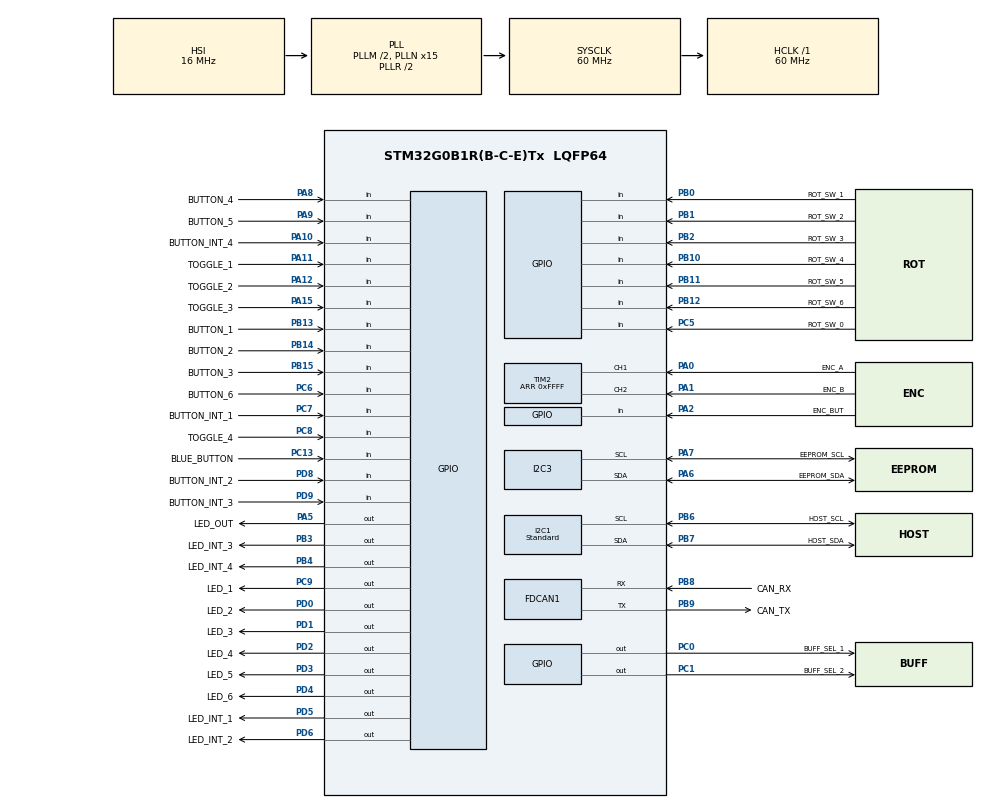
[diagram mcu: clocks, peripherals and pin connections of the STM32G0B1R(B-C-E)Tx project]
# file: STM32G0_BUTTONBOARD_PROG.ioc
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FDCAN1.AutoRetransmission=DISABLE
FDCAN1.CalculateBaudRateNominal=499999
FDCAN1.CalculateTimeBitNominal=2000
FDCAN1.CalculateTimeQuantumNominal=133.33333333333334
FDCAN1.NominalPrescaler=8
FDCAN1.NominalSyncJumpWidth=1
FDCAN1.NominalTimeSeg1=10
FDCAN1.NominalTimeSeg2=4
FDCAN1.StdFiltersNbr=1
I2C1.I2C_Speed_Mode=I2C_Standard
I2C1.OwnAddress=81
I2C1.Timing=0x10A077A8
I2C3.Timing=0x10A077A8
Mcu.Family=STM32G0
Mcu.Name=STM32G0B1R(B-C-E)Tx
Mcu.Package=LQFP64
NVIC.I2C1_IRQn=true\:1\:0\:false\:false\:true\:true\:true\:true
NVIC.TIM16_FDCAN_IT0_IRQn=true\:0\:0\:false\:false\:true\:true\:true\:true
PA0.GPIO_Label=ENC_A
PA0.Signal=S_TIM2_CH1_ETR
PA1.GPIO_Label=ENC_B
PA1.Signal=S_TIM2_CH2
PA10.GPIO_Label=BUTTON_INT_4
PA10.Signal=GPIO_Input
PA11\ [PA9].GPIO_Label=TOGGLE_1
PA11\ [PA9].Signal=GPIO_Input
PA12\ [PA10].GPIO_Label=TOGGLE_2
PA12\ [PA10].Signal=GPIO_Input
PA13.Signal=SYS_SWDIO
PA14-BOOT0.Signal=SYS_SWCLK
PA15.GPIO_Label=TOGGLE_3
PA15.Signal=GPIO_Input
PA2.GPIO_Label=ENC_BUT
PA2.Signal=GPIO_Input
PA5.GPIO_Label=LED_OUT
PA5.GPIO_PuPd=GPIO_NOPULL
PA5.Signal=GPIO_Output
PA6.GPIO_Label=EEPROM_SDA
PA6.GPIO_Pu=GPIO_PULLUP
PA6.Mode=I2C
PA6.Signal=I2C3_SDA
PA7.GPIO_Label=EEPROM_SCL
PA7.GPIO_Pu=GPIO_PULLUP
PA7.Mode=I2C
PA7.Signal=I2C3_SCL
PA8.GPIO_Label=BUTTON_4
PA8.Signal=GPIO_Input
PA9.GPIO_Label=BUTTON_5
PA9.Signal=GPIO_Input
PB0.GPIO_Label=ROT_SW_1
PB0.Signal=GPIO_Input
PB1.GPIO_Label=ROT_SW_2
PB1.Signal=GPIO_Input
PB10.GPIO_Label=ROT_SW_4
PB10.Signal=GPIO_Input
PB11.GPIO_Label=ROT_SW_5
PB11.Signal=GPIO_Input
PB12.GPIO_Label=ROT_SW_6
PB12.Signal=GPIO_Input
PB13.GPIO_Label=BUTTON_1
PB13.Signal=GPIO_Input
PB14.GPIO_Label=BUTTON_2
PB14.Signal=GPIO_Input
PB15.GPIO_Label=BUTTON_3
PB15.Signal=GPIO_Input
PB2.GPIO_Label=ROT_SW_3
PB2.Signal=GPIO_Input
PB3.GPIO_Label=LED_INT_3
PB3.Signal=GPIO_Output
PB4.GPIO_Label=LED_INT_4
PB4.Signal=GPIO_Output
PB6.GPIO_Label=HOST_SCL
PB6.GPIO_Pu=GPIO_PULLUP
PB6.Mode=I2C
PB6.Signal=I2C1_SCL
PB7.GPIO_Label=HOST_SDA
PB7.GPIO_Pu=GPIO_PULLUP
PB7.Mode=I2C
PB7.Signal=I2C1_SDA
PB8.GPIO_Label=CAN_RX
PB8.GPIO_PuPd=GPIO_PULLUP
PB8.Mode=FDCAN_Activate
PB8.Signal=FDCAN1_RX
PB9.GPIO_Label=CAN_TX
PB9.Mode=FDCAN_Activate
PB9.Signal=FDCAN1_TX
PC0.GPIO_Label=BUFF_SEL_1
PC0.Signal=GPIO_Output
PC1.GPIO_Label=BUFF_SEL_2
PC1.Signal=GPIO_Output
PC13.GPIO_Label=BLUE_BUTTON
PC13.Signal=GPIO_Input
PC5.GPIO_Label=ROT_SW_0
PC5.Signal=GPIO_Input
PC6.GPIO_Label=BUTTON_6
PC6.Signal=GPIO_Input
PC7.GPIO_Label=BUTTON_INT_1
PC7.Signal=GPIO_Input
PC8.GPIO_Label=TOGGLE_4
PC8.Signal=GPIO_Input
PC9.GPIO_Label=LED_1
PC9.Signal=GPIO_Output
PD0.GPIO_Label=LED_2
PD0.Signal=GPIO_Output
PD1.GPIO_Label=LED_3
PD1.Signal=GPIO_Output
PD2.GPIO_Label=LED_4
PD2.Signal=GPIO_Output
PD3.GPIO_Label=LED_5
PD3.Signal=GPIO_Output
PD4.GPIO_Label=LED_6
PD4.Signal=GPIO_Output
PD5.GPIO_Label=LED_INT_1
PD5.Signal=GPIO_Output
PD6.GPIO_Label=LED_INT_2
PD6.Signal=GPIO_Output
PD8.GPIO_Label=BUTTON_INT_2
PD8.Signal=GPIO_Input
PD9.GPIO_Label=BUTTON_INT_3
PD9.Signal=GPIO_Input
PF0-OSC_IN\ (PF0).Mode=HSE-External-Oscillator
PF0-OSC_IN\ (PF0).Signal=RCC_OSC_IN
PF1-OSC_OUT\ (PF1).Mode=HSE-External-Oscillator
PF1-OSC_OUT\ (PF1).Signal=RCC_OSC_OUT
ProjectManager.HeapSize=0x200
ProjectManager.StackSize=0x400
ProjectManager.TargetToolchain=STM32CubeIDE
RCC.ADCFreq_Value=60000000
RCC.AHBFreq_Value=60000000
RCC.CortexFreq_Value=60000000
RCC.EXTERNAL_CLOCK_VALUE=48000
RCC.HCLKFreq_Value=60000000
RCC.HSE_VALUE=8000000
RCC.HSI48_VALUE=48000000
RCC.HSI_VALUE=16000000
RCC.LSE_VALUE=32768
RCC.PLLM=RCC_PLLM_DIV1
RCC.PLLN=15
RCC.PLLSourceVirtual=RCC_PLLSOURCE_HSE
RCC.SYSCLKFreq_VALUE=60000000
RCC.SYSCLKSource=RCC_SYSCLKSOURCE_PLLCLK
RCC.USBFreq_Value=48000000
RCC.VCOOutputFreq_Value=120000000
SH.S_TIM2_CH1_ETR.0=TIM2_CH1,Encoder_Interface
SH.S_TIM2_CH2.0=TIM2_CH2,Encoder_Interface
TIM2.EncoderMode=TIM_ENCODERMODE_TI12
TIM2.IC1Filter=15
TIM2.IC2Filter=15
TIM2.Period=0xFFFF
VP_SYS_VS_DBSignals.Mode=DisableDeadBatterySignals
board=custom

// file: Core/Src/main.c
/* USER CODE BEGIN Header */
/**
  ******************************************************************************
  * @file    main.c
  * @brief   Application entry point - fabricaAI calibration knob / button
  *          board V5.5, STM32G0B1RET6.
  *
  * This image is the OpenBLT *user program*. It is linked to start at
  * 0x08003000, 12 KB above the bottom of flash, because the bootloader owns
  * sectors 0-5. Nothing here may be flashed to 0x08000000.
  *
  * CubeMX-managed file: everything outside the USER CODE fences is generated
  * from STM32G0_BUTTONBOARD_PROG.ioc and will be rewritten by Generate Code.
  * Everything hand-written lives inside a fence. See the project CLAUDE.md.
  ******************************************************************************
  */
/* USER CODE END Header */
#include "main.h"

/* USER CODE BEGIN Includes */
#include "applogic.h"
#include "can_operation.h"
#include "inputs.h"
#include "leds.h"
#include "i2c_host.h"
#include "i2c_host_proto.h"
/* USER CODE END Includes */

FDCAN_HandleTypeDef hfdcan1;

I2C_HandleTypeDef hi2c1;
I2C_HandleTypeDef hi2c3;

TIM_HandleTypeDef htim2;

/* USER CODE BEGIN PV */
static AppStateMachine sm;
/* USER CODE END PV */

void SystemClock_Config(void);
static void MX_GPIO_Init(void);
static void MX_FDCAN1_Init(void);
static void MX_I2C1_Init(void);
static void MX_TIM2_Init(void);
static void MX_I2C3_Init(void);
/* USER CODE BEGIN PFP */
static void VectorBase_Config(void);
/* USER CODE END PFP */

/* USER CODE BEGIN 0 */
/**
  * @brief Point the vector table at this image.
  *
  * The bootloader has already run and its own vector table sits at
  * 0x08000000. Every interrupt taken after this line - SysTick, FDCAN, I2C1 -
  * must dispatch through the application's table at 0x08003000 instead, so
  * this has to happen before HAL_Init() enables the tick. Hence it lives in
  * USER CODE 1, the fence CubeMX places ahead of HAL_Init().
  */
static void VectorBase_Config(void)
{
    extern const unsigned long g_pfnVectors[];
    SCB->VTOR = (unsigned long)&g_pfnVectors[0];
}
/* USER CODE END 0 */

int main(void)
{

  /* USER CODE BEGIN 1 */
  VectorBase_Config();
  /* USER CODE END 1 */

  /* MCU Configuration--------------------------------------------------------*/

  /* Reset of all peripherals, Initializes the Flash interface and the Systick. */
  HAL_Init();

  /* Configure the system clock */
  SystemClock_Config();

  /* Initialize all configured peripherals */
  MX_GPIO_Init();
  MX_FDCAN1_Init();
  MX_I2C1_Init();
  MX_TIM2_Init();
  MX_I2C3_Init();
  /* USER CODE BEGIN 2 */
  /* Slave listen for the V5.2-compatible host port on I2C1. Needs only
   * hi2c1 initialised (MX_I2C1_Init above); ordering after the other
   * MX_*_Init calls is deliberate - nothing here depends on it. */
  I2CHost_Init();

  /* CAN is the one peripheral whose failure is fatal: with it dead the board
   * cannot report anything, so the state machine goes straight to STATE_ERROR
   * (fast heartbeat + reset-retry) instead of running silent. */
  const bool can_ok = CAN_Init();
  AppLogic_Init(&sm, can_ok);
  /* USER CODE END 2 */

  /* Infinite loop */
  while (1)
  {

    /* USER CODE BEGIN 3 */
    /* Green heartbeat on PA5 - the fastest way to tell "the application is
     * running" from "the bootloader is waiting" at a glance. 500 ms when
     * healthy; 100 ms in STATE_ERROR (CAN failed to start), because a board
     * that cannot talk on the bus has no other way to say so. */
    {
      static uint32_t led_last_tick = 0U;
      const uint32_t now = HAL_GetTick();
      const uint32_t period = (sm.state == STATE_ERROR) ? 100U : 500U;
      if ((now - led_last_tick) >= period) {
        led_last_tick = now;
        HAL_GPIO_TogglePin(LED_OUT_GPIO_Port, LED_OUT_Pin);
      }
    }

    AppLogic_Run(&sm);
  }
  /* USER CODE END 3 */
}

void SystemClock_Config(void)
{
  RCC_OscInitTypeDef RCC_OscInitStruct = {0};
  RCC_ClkInitTypeDef RCC_ClkInitStruct = {0};

  /** Configure the main internal regulator output voltage
  */
  HAL_PWREx_ControlVoltageScaling(PWR_REGULATOR_VOLTAGE_SCALE1);

  /** Initializes the RCC Oscillators according to the specified parameters
  * in the RCC_OscInitTypeDef structure.
  */
  /* Bench only (UNCOMMITTED, re-apply after any regen): this Nucleo has no
   * HSE source, so feed the identical PLL chain from HSI16/2 = the same 8 MHz
   * reference the V5.5 crystal provides. SYSCLK/PCLK1/CAN timing unchanged.
   * The generated (committed) code below this comment is HSE. */
  RCC_OscInitStruct.OscillatorType = RCC_OSCILLATORTYPE_HSI;
  RCC_OscInitStruct.HSIState = RCC_HSI_ON;
  RCC_OscInitStruct.HSICalibrationValue = RCC_HSICALIBRATION_DEFAULT;
  RCC_OscInitStruct.PLL.PLLState = RCC_PLL_ON;
  RCC_OscInitStruct.PLL.PLLSource = RCC_PLLSOURCE_HSI;
  RCC_OscInitStruct.PLL.PLLM = RCC_PLLM_DIV2;
  RCC_OscInitStruct.PLL.PLLN = 15;
  RCC_OscInitStruct.PLL.PLLP = RCC_PLLP_DIV2;
  RCC_OscInitStruct.PLL.PLLQ = RCC_PLLQ_DIV2;
  RCC_OscInitStruct.PLL.PLLR = RCC_PLLR_DIV2;
  if (HAL_RCC_OscConfig(&RCC_OscInitStruct) != HAL_OK)
  {
    Error_Handler();
  }

  /** Initializes the CPU, AHB and APB buses clocks
  */
  RCC_ClkInitStruct.ClockType = RCC_CLOCKTYPE_HCLK|RCC_CLOCKTYPE_SYSCLK
                              |RCC_CLOCKTYPE_PCLK1;
  RCC_ClkInitStruct.SYSCLKSource = RCC_SYSCLKSOURCE_PLLCLK;
  RCC_ClkInitStruct.AHBCLKDivider = RCC_SYSCLK_DIV1;
  RCC_ClkInitStruct.APB1CLKDivider = RCC_HCLK_DIV1;

  if (HAL_RCC_ClockConfig(&RCC_ClkInitStruct, FLASH_LATENCY_2) != HAL_OK)
  {
    Error_Handler();
  }
}

static void MX_FDCAN1_Init(void)
{

  /* USER CODE BEGIN FDCAN1_Init 0 */
  /* Classic CAN, 500 kbit/s nominal. Kernel clock = PCLK1 = 60 MHz.
   * Prescaler 8 -> 7.5 MHz tq; 1 + 10 + 4 = 15 tq/bit -> 500 kbit/s, sample
   * point 11/15 = 73.3 %, inside the 75 % target in Docs/CAN_Bus.md.
   * AutoRetransmission DISABLE matches the other Fabrica boards: periodic
   * telemetry is better replaced by the next sample than retried stale.
   * StdFiltersNbr = 1: CAN_Init() installs one range filter; declaring the
   * slot here is what makes the message-RAM allocation include it. All of
   * that is driven from the .ioc - this comment records WHY. */
  /* USER CODE END FDCAN1_Init 0 */

  hfdcan1.Instance = FDCAN1;
  hfdcan1.Init.ClockDivider = FDCAN_CLOCK_DIV1;
  hfdcan1.Init.FrameFormat = FDCAN_FRAME_CLASSIC;
  hfdcan1.Init.Mode = FDCAN_MODE_NORMAL;
  hfdcan1.Init.AutoRetransmission = DISABLE;
  hfdcan1.Init.TransmitPause = DISABLE;
  hfdcan1.Init.ProtocolException = DISABLE;
  hfdcan1.Init.NominalPrescaler = 8;
  hfdcan1.Init.NominalSyncJumpWidth = 1;
  hfdcan1.Init.NominalTimeSeg1 = 10;
  hfdcan1.Init.NominalTimeSeg2 = 4;
  hfdcan1.Init.DataPrescaler = 1;
  hfdcan1.Init.DataSyncJumpWidth = 1;
  hfdcan1.Init.DataTimeSeg1 = 1;
  hfdcan1.Init.DataTimeSeg2 = 1;
  hfdcan1.Init.StdFiltersNbr = 1;
  hfdcan1.Init.ExtFiltersNbr = 0;
  hfdcan1.Init.TxFifoQueueMode = FDCAN_TX_FIFO_OPERATION;
  if (HAL_FDCAN_Init(&hfdcan1) != HAL_OK)
  {
    Error_Handler();
  }

}

static void MX_I2C1_Init(void)
{

  /* USER CODE BEGIN I2C1_Init 0 */
  /* I2C1 = the HOST PORT (connector P1): the STM32 is a pure SLAVE at 7-bit
   * 0x51 speaking the V5.2 ATtiny protocol (i2c_host.c). OwnAddress1 = 0xA2
   * (= 0x51 << 1) is generated from I2C1.OwnAddress in the .ioc - keep it
   * there, not here. 0x00B01E60 is fast-mode-class timing; in pure-slave mode
   * only SDADEL/SCLDEL matter, the master drives SCL. */
  /* USER CODE END I2C1_Init 0 */

  hi2c1.Instance = I2C1;
  hi2c1.Init.Timing = 0x10A077A8;
  hi2c1.Init.OwnAddress1 = 162;
  hi2c1.Init.AddressingMode = I2C_ADDRESSINGMODE_7BIT;
  hi2c1.Init.DualAddressMode = I2C_DUALADDRESS_DISABLE;
  hi2c1.Init.OwnAddress2 = 0;
  hi2c1.Init.OwnAddress2Masks = I2C_OA2_NOMASK;
  hi2c1.Init.GeneralCallMode = I2C_GENERALCALL_DISABLE;
  hi2c1.Init.NoStretchMode = I2C_NOSTRETCH_DISABLE;
  if (HAL_I2C_Init(&hi2c1) != HAL_OK)
  {
    Error_Handler();
  }

  /** Configure Analogue filter
  */
  if (HAL_I2CEx_ConfigAnalogFilter(&hi2c1, I2C_ANALOGFILTER_ENABLE) != HAL_OK)
  {
    Error_Handler();
  }

  /** Configure Digital filter
  */
  if (HAL_I2CEx_ConfigDigitalFilter(&hi2c1, 0) != HAL_OK)
  {
    Error_Handler();
  }

}

static void MX_I2C3_Init(void)
{

  /* USER CODE BEGIN I2C3_Init 0 */
  /* I2C3 = the AT24C256 config EEPROM (PA6/PA7, AF9 - see MSP), STM32 is
   * the only master, standard-mode 100 kHz from the 60 MHz PCLK1. */
  /* USER CODE END I2C3_Init 0 */

  hi2c3.Instance = I2C3;
  hi2c3.Init.Timing = 0x10A077A8;
  hi2c3.Init.OwnAddress1 = 0;
  hi2c3.Init.AddressingMode = I2C_ADDRESSINGMODE_7BIT;
  hi2c3.Init.DualAddressMode = I2C_DUALADDRESS_DISABLE;
  hi2c3.Init.OwnAddress2 = 0;
  hi2c3.Init.OwnAddress2Masks = I2C_OA2_NOMASK;
  hi2c3.Init.GeneralCallMode = I2C_GENERALCALL_DISABLE;
  hi2c3.Init.NoStretchMode = I2C_NOSTRETCH_DISABLE;
  if (HAL_I2C_Init(&hi2c3) != HAL_OK)
  {
    Error_Handler();
  }

  /** Configure Analogue filter
  */
  if (HAL_I2CEx_ConfigAnalogFilter(&hi2c3, I2C_ANALOGFILTER_ENABLE) != HAL_OK)
  {
    Error_Handler();
  }

  /** Configure Digital filter
  */
  if (HAL_I2CEx_ConfigDigitalFilter(&hi2c3, 0) != HAL_OK)
  {
    Error_Handler();
  }

}

static void MX_TIM2_Init(void)
{

  TIM_Encoder_InitTypeDef sConfig = {0};
  TIM_MasterConfigTypeDef sMasterConfig = {0};

  htim2.Instance = TIM2;
  htim2.Init.Prescaler = 0;
  htim2.Init.CounterMode = TIM_COUNTERMODE_UP;
  htim2.Init.Period = 0xFFFF;
  htim2.Init.ClockDivision = TIM_CLOCKDIVISION_DIV1;
  htim2.Init.AutoReloadPreload = TIM_AUTORELOAD_PRELOAD_DISABLE;
  sConfig.EncoderMode = TIM_ENCODERMODE_TI12;
  sConfig.IC1Polarity = TIM_ICPOLARITY_RISING;
  sConfig.IC1Selection = TIM_ICSELECTION_DIRECTTI;
  sConfig.IC1Prescaler = TIM_ICPSC_DIV1;
  sConfig.IC1Filter = 15;
  sConfig.IC2Polarity = TIM_ICPOLARITY_RISING;
  sConfig.IC2Selection = TIM_ICSELECTION_DIRECTTI;
  sConfig.IC2Prescaler = TIM_ICPSC_DIV1;
  sConfig.IC2Filter = 15;
  if (HAL_TIM_Encoder_Init(&htim2, &sConfig) != HAL_OK)
  {
    Error_Handler();
  }
  sMasterConfig.MasterOutputTrigger = TIM_TRGO_RESET;
  sMasterConfig.MasterSlaveMode = TIM_MASTERSLAVEMODE_DISABLE;
  if (HAL_TIMEx_MasterConfigSynchronization(&htim2, &sMasterConfig) != HAL_OK)
  {
    Error_Handler();
  }

}

static void MX_GPIO_Init(void)
{
  GPIO_InitTypeDef GPIO_InitStruct = {0};

  /* GPIO Ports Clock Enable */
  __HAL_RCC_GPIOC_CLK_ENABLE();
  __HAL_RCC_GPIOF_CLK_ENABLE();
  __HAL_RCC_GPIOA_CLK_ENABLE();
  __HAL_RCC_GPIOB_CLK_ENABLE();
  __HAL_RCC_GPIOD_CLK_ENABLE();

  /*Configure GPIO pin Output Level */
  HAL_GPIO_WritePin(GPIOC, BUFF_SEL_1_Pin|BUFF_SEL_2_Pin|LED_1_Pin, GPIO_PIN_RESET);

  /*Configure GPIO pin Output Level */
  HAL_GPIO_WritePin(LED_OUT_GPIO_Port, LED_OUT_Pin, GPIO_PIN_RESET);

  /*Configure GPIO pin Output Level */
  HAL_GPIO_WritePin(GPIOD, LED_2_Pin|LED_3_Pin|LED_4_Pin|LED_5_Pin
                          |LED_6_Pin|LED_INT_1_Pin|LED_INT_2_Pin, GPIO_PIN_RESET);

  /*Configure GPIO pin Output Level */
  HAL_GPIO_WritePin(GPIOB, LED_INT_3_Pin|LED_INT_4_Pin, GPIO_PIN_RESET);

  /*Configure GPIO pins : BLUE_BUTTON_Pin ROT_SW_0_Pin BUTTON_6_Pin BUTTON_INT_1_Pin
                           TOGGLE_4_Pin */
  GPIO_InitStruct.Pin = BLUE_BUTTON_Pin|ROT_SW_0_Pin|BUTTON_6_Pin|BUTTON_INT_1_Pin
                          |TOGGLE_4_Pin;
  GPIO_InitStruct.Mode = GPIO_MODE_INPUT;
  GPIO_InitStruct.Pull = GPIO_NOPULL;
  HAL_GPIO_Init(GPIOC, &GPIO_InitStruct);

  /*Configure GPIO pins : BUFF_SEL_1_Pin BUFF_SEL_2_Pin LED_1_Pin */
  GPIO_InitStruct.Pin = BUFF_SEL_1_Pin|BUFF_SEL_2_Pin|LED_1_Pin;
  GPIO_InitStruct.Mode = GPIO_MODE_OUTPUT_PP;
  GPIO_InitStruct.Pull = GPIO_NOPULL;
  GPIO_InitStruct.Speed = GPIO_SPEED_FREQ_LOW;
  HAL_GPIO_Init(GPIOC, &GPIO_InitStruct);

  /*Configure GPIO pins : ENC_BUT_Pin BUTTON_4_Pin BUTTON_5_Pin BUTTON_INT_4_Pin
                           TOGGLE_1_Pin TOGGLE_2_Pin TOGGLE_3_Pin */
  GPIO_InitStruct.Pin = ENC_BUT_Pin|BUTTON_4_Pin|BUTTON_5_Pin|BUTTON_INT_4_Pin
                          |TOGGLE_1_Pin|TOGGLE_2_Pin|TOGGLE_3_Pin;
  GPIO_InitStruct.Mode = GPIO_MODE_INPUT;
  GPIO_InitStruct.Pull = GPIO_NOPULL;
  HAL_GPIO_Init(GPIOA, &GPIO_InitStruct);

  /*Configure GPIO pin : LED_OUT_Pin */
  GPIO_InitStruct.Pin = LED_OUT_Pin;
  GPIO_InitStruct.Mode = GPIO_MODE_OUTPUT_PP;
  GPIO_InitStruct.Pull = GPIO_NOPULL;
  GPIO_InitStruct.Speed = GPIO_SPEED_FREQ_LOW;
  HAL_GPIO_Init(LED_OUT_GPIO_Port, &GPIO_InitStruct);

  /*Configure GPIO pins : ROT_SW_1_Pin ROT_SW_2_Pin ROT_SW_3_Pin ROT_SW_4_Pin
                           ROT_SW_5_Pin ROT_SW_6_Pin BUTTON_1_Pin BUTTON_2_Pin
                           BUTTON_3_Pin */
  GPIO_InitStruct.Pin = ROT_SW_1_Pin|ROT_SW_2_Pin|ROT_SW_3_Pin|ROT_SW_4_Pin
                          |ROT_SW_5_Pin|ROT_SW_6_Pin|BUTTON_1_Pin|BUTTON_2_Pin
                          |BUTTON_3_Pin;
  GPIO_InitStruct.Mode = GPIO_MODE_INPUT;
  GPIO_InitStruct.Pull = GPIO_NOPULL;
  HAL_GPIO_Init(GPIOB, &GPIO_InitStruct);

  /*Configure GPIO pins : BUTTON_INT_2_Pin BUTTON_INT_3_Pin */
  GPIO_InitStruct.Pin = BUTTON_INT_2_Pin|BUTTON_INT_3_Pin;
  GPIO_InitStruct.Mode = GPIO_MODE_INPUT;
  GPIO_InitStruct.Pull = GPIO_NOPULL;
  HAL_GPIO_Init(GPIOD, &GPIO_InitStruct);

  /*Configure GPIO pins : LED_2_Pin LED_3_Pin LED_4_Pin LED_5_Pin
                           LED_6_Pin LED_INT_1_Pin LED_INT_2_Pin */
  GPIO_InitStruct.Pin = LED_2_Pin|LED_3_Pin|LED_4_Pin|LED_5_Pin
                          |LED_6_Pin|LED_INT_1_Pin|LED_INT_2_Pin;
  GPIO_InitStruct.Mode = GPIO_MODE_OUTPUT_PP;
  GPIO_InitStruct.Pull = GPIO_NOPULL;
  GPIO_InitStruct.Speed = GPIO_SPEED_FREQ_LOW;
  HAL_GPIO_Init(GPIOD, &GPIO_InitStruct);

  /*Configure GPIO pins : LED_INT_3_Pin LED_INT_4_Pin */
  GPIO_InitStruct.Pin = LED_INT_3_Pin|LED_INT_4_Pin;
  GPIO_InitStruct.Mode = GPIO_MODE_OUTPUT_PP;
  GPIO_InitStruct.Pull = GPIO_NOPULL;
  GPIO_InitStruct.Speed = GPIO_SPEED_FREQ_LOW;
  HAL_GPIO_Init(GPIOB, &GPIO_InitStruct);

  /* USER CODE BEGIN MX_GPIO_Init_2 */
  /* Take the LED nets to a defined state as early as possible - before any
   * other peripheral init runs. Until this, BUFF_SEL_1 has no hardware
   * default (R51 is DNP) and both ACT240 banks may be enabled onto the same
   * nets. This fence runs after the generated pin config above and before
   * MX_FDCAN1_Init/MX_I2C*_Init in main(), which is earlier than the old
   * hand-written order - strictly safer. */
  Leds_Init();
  /* USER CODE END MX_GPIO_Init_2 */
}

void Error_Handler(void)
{
  __disable_irq();
  while (1)
  {
  }
}
